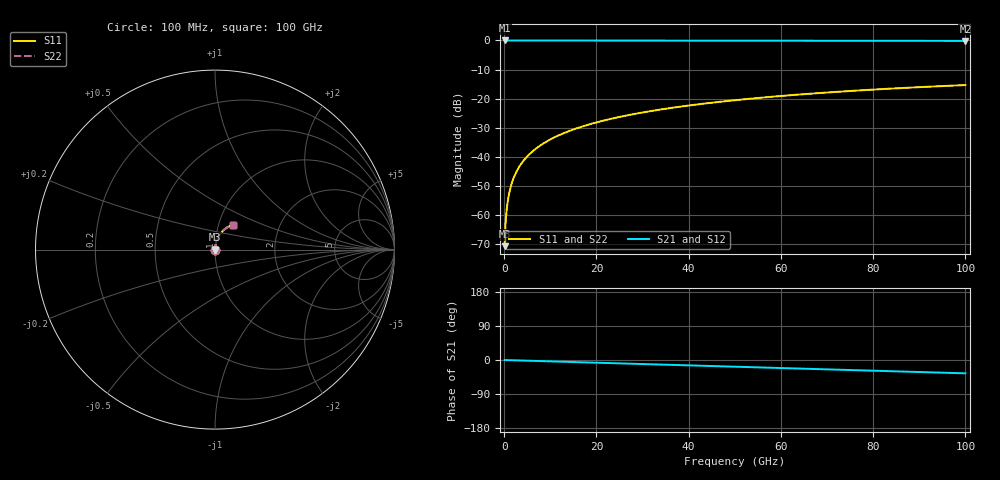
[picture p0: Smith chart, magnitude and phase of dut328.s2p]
! Touchstone file exported from HFSS 2026.1.0
!  File:  C:/ffzhzh/LocalFiles/Ansys_Project_Files/temp_train_TSV_328_1783509643_31944.aedt
!  Generated:  07:22:02 PM Jul  8, 2026
!  Design:  TSV
!  Project:  temp_train_TSV_328_1783509643_31944
! Variables:
!  h_bsmrdl = 2um
!  h_ox = 20um
!  h_rdl = 5um
!  h_sub = 64.51um
!  h_tmrdl = 5um
!  h_tsv = 64.51um
!  h_via = 3um
!  l_bsmrdl = 300um
!  l_sub = 414.4um
!  l_tmrdl = 200um
!  m_sub = 200um
!  pitch = 43.85um
!  r_tsv = 7.2um
!  s_tmrdl = 10um
!  w_bsmrdl = 18um
!  w_sub = 500um
!  w_tmrdl = 12um
!  x_tsv_center1 = 206um
!  x_tsv_center2 = 524um
!  x_tsv_center3 = 736um
!  x_tsv_center4 = 1054um
!  x_tsv_center5 = 1266um
!  x_tsv_center6 = 1584um
# GHz S MA R 50.000000
! Terminal data exported
! Port[1] = TSV1_1_T1
! Port[2] = TSV1_1_T2
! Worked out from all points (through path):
!   1000 points, 100 MHz to 100 GHz, reference 50 ohm
!   highest |S21| = 0.00 dB at 100 MHz (marker M1); lowest = -0.2 dB at 100 GHz (marker M2)
!   group delay of S21, straight-line fit = 977 fs
!   lowest |S11| = -70.6 dB at 100 MHz (marker M3), VSWR 1.00, Z = 50 + j0.0233 ohm
!   |S11| at or under -10 dB: start of sweep to end of sweep
!   |S22| runs from -70.6 to -15.3 dB; largest |S21 - S12| = 2.7e-15
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0.1  0.0002935 52.6  0.9998 -0.0  0.9998 -0.0  0.0002935 52.6
! Gamma 0 0 0 0
! Port Impedance 50 0 50 0
0.4  0.0009232 76.1  0.9998 -0.1  0.9998 -0.1  0.0009232 76.1
0.7  0.001555 80.4  0.9997 -0.3  0.9997 -0.3  0.001555 80.4
0.8  0.001765 81.1  0.9997 -0.3  0.9997 -0.3  0.001765 81.1
1.1  0.002393 82.5  0.9997 -0.4  0.9997 -0.4  0.002393 82.5
1.4  0.003016 83.2  0.9997 -0.5  0.9997 -0.5  0.003016 83.2
1.9  0.004042 83.7  0.9996 -0.7  0.9996 -0.7  0.004042 83.7
2.4  0.005053 84.0  0.9995 -0.9  0.9995 -0.9  0.005053 84.0
3  0.00625 84.2  0.9995 -1.1  0.9995 -1.1  0.00625 84.2
3.8  0.007832 84.3  0.9994 -1.4  0.9994 -1.4  0.007832 84.3
4.8  0.009796 84.4  0.9993 -1.7  0.9993 -1.7  0.009796 84.4
6  0.01215 84.4  0.9992 -2.2  0.9992 -2.2  0.01215 84.4
8.8  0.01761 84.0  0.999 -3.2  0.999 -3.2  0.01761 84.0
12.4  0.02457 83.1  0.9986 -4.4  0.9986 -4.4  0.02457 83.1
16.8  0.03302 81.8  0.9982 -6.0  0.9982 -6.0  0.03302 81.8
24.2  0.04708 79.6  0.9974 -8.6  0.9974 -8.6  0.04708 79.6
33.4  0.06426 76.6  0.9962 -11.9  0.9962 -11.9  0.06426 76.6
41.2  0.0785 74.0  0.995 -14.7  0.995 -14.7  0.0785 73.9
50.1  0.09433 70.9  0.9934 -17.8  0.9934 -17.8  0.09433 70.9
66.7  0.1224 65.3  0.9901 -23.6  0.9901 -23.6  0.1224 65.3
83.4  0.1484 59.6  0.9862 -29.4  0.9862 -29.4  0.1484 59.6
100  0.1714 54.0  0.9822 -35.2  0.9822 -35.2  0.1714 53.9
